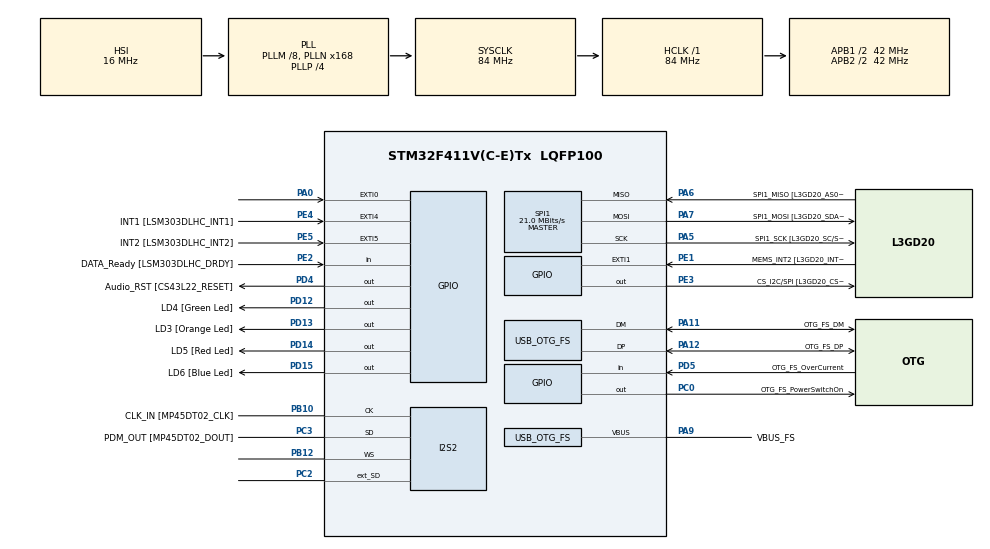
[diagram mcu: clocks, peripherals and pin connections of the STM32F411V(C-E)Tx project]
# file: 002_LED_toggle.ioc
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I2S2.AudioFreq=I2S_AUDIOFREQ_96K
I2S2.ErrorAudioFreq=-0.79 %
I2S2.FullDuplexMode=I2S_FULLDUPLEXMODE_ENABLE
I2S2.Instance=SPI$Index
I2S2.RealAudioFreq=95.238 KHz
I2S2.VirtualMode=I2S_MODE_MASTER
Mcu.Family=STM32F4
Mcu.Name=STM32F411V(C-E)Tx
Mcu.Package=LQFP100
NVIC.OTG_FS_IRQn=true\:0\:0\:false\:false\:true\:true\:true\:true
NVIC.PriorityGroup=NVIC_PRIORITYGROUP_4
NVIC.TIM2_IRQn=true\:15\:0\:false\:false\:true\:false\:true\:true
NVIC.TimeBase=TIM2_IRQn
NVIC.TimeBaseIP=TIM2
PA0-WKUP.GPIO_ModeDefaultEXTI=GPIO_MODE_EVT_RISING
PA0-WKUP.Signal=GPXTI0
PA10.GPIO_Label=OTG_FS_ID
PA10.Signal=USB_OTG_FS_ID
PA11.GPIO_Label=OTG_FS_DM
PA11.Mode=Host_Only
PA11.Signal=USB_OTG_FS_DM
PA12.GPIO_Label=OTG_FS_DP
PA12.Mode=Host_Only
PA12.Signal=USB_OTG_FS_DP
PA13.GPIO_Label=SWDIO
PA13.Mode=JTAG_5_pins
PA13.Signal=SYS_JTMS-SWDIO
PA14.GPIO_Label=SWCLK
PA14.Mode=JTAG_5_pins
PA14.Signal=SYS_JTCK-SWCLK
PA15.Mode=JTAG_5_pins
PA15.Signal=SYS_JTDI
PA4.GPIO_Label=I2S3_WS [CS43L22_LRCK]
PA4.GPIO_Mode=GPIO_MODE_AF_PP
PA4.GPIO_PuPd=GPIO_NOPULL
PA4.GPIO_Speed=GPIO_SPEED_FREQ_LOW
PA4.Signal=I2S3_WS
PA5.GPIO_Label=SPI1_SCK [L3GD20_SC/SPC]
PA5.Mode=Full_Duplex_Master
PA5.Signal=SPI1_SCK
PA6.GPIO_Label=SPI1_MISO [L3GD20_AS0/SDO]
PA6.Mode=Full_Duplex_Master
PA6.Signal=SPI1_MISO
PA7.GPIO_Label=SPI1_MOSI [L3GD20_SDA/SDI/SDO]
PA7.Mode=Full_Duplex_Master
PA7.Signal=SPI1_MOSI
PA9.GPIO_Label=VBUS_FS
PA9.Mode=Activate_VBUS
PA9.Signal=USB_OTG_FS_VBUS
PB10.GPIO_Label=CLK_IN [MP45DT02_CLK]
PB10.Mode=Full_Duplex_Master
PB10.Signal=I2S2_CK
PB12.Mode=Full_Duplex_Master
PB12.Signal=I2S2_WS
PB3.GPIO_Label=SWO
PB3.Mode=JTAG_5_pins
PB3.Signal=SYS_JTDO-SWO
PB4.Mode=JTAG_5_pins
PB4.Signal=SYS_JTRST
PB6.GPIO_Label=Audio_SCL [CS43L22_SCL]
PB6.GPIO_Mode=GPIO_MODE_AF_OD
PB6.GPIO_Pu=GPIO_PULLUP
PB6.GPIO_PuPd=GPIO_NOPULL
PB6.GPIO_Speed=GPIO_SPEED_FREQ_LOW
PB6.Signal=I2C1_SCL
PB9.GPIO_Label=Audio_SDA [CS43L22_SDA]
PB9.GPIO_Mode=GPIO_MODE_AF_OD
PB9.GPIO_Pu=GPIO_PULLUP
PB9.GPIO_PuPd=GPIO_NOPULL
PB9.GPIO_Speed=GPIO_SPEED_FREQ_LOW
PB9.Signal=I2C1_SDA
PC0.GPIO_Label=OTG_FS_PowerSwitchOn
PC0.PinState=GPIO_PIN_SET
PC0.Signal=GPIO_Output
PC10.GPIO_Label=I2S3_SCK [CS43L22_SCLK]
PC10.GPIO_Mode=GPIO_MODE_AF_PP
PC10.GPIO_PuPd=GPIO_NOPULL
PC10.GPIO_Speed=GPIO_SPEED_FREQ_LOW
PC10.Signal=I2S3_CK
PC12.GPIO_Label=I2S3_SD [CS43L22_SDIN]
PC12.GPIO_Mode=GPIO_MODE_AF_PP
PC12.GPIO_PuPd=GPIO_NOPULL
PC12.GPIO_Speed=GPIO_SPEED_FREQ_LOW
PC12.Signal=I2S3_SD
PC14-OSC32_IN.GPIO_Label=PC14-OSC32_IN
PC14-OSC32_IN.Signal=RCC_OSC32_IN
PC15-OSC32_OUT.GPIO_Label=PC15-OSC32_OUT
PC15-OSC32_OUT.Signal=RCC_OSC32_OUT
PC2.Mode=Full_Duplex_Master
PC2.Signal=I2S2_ext_SD
PC3.GPIO_Label=PDM_OUT [MP45DT02_DOUT]
PC3.Mode=Full_Duplex_Master
PC3.Signal=I2S2_SD
PC7.GPIO_Label=I2S3_MCK [CS43L22_MCLK]
PC7.GPIO_Mode=GPIO_MODE_AF_PP
PC7.GPIO_PuPd=GPIO_NOPULL
PC7.GPIO_Speed=GPIO_SPEED_FREQ_LOW
PC7.Signal=I2S3_MCK
PD12.GPIO_Label=LD4 [Green Led]
PD12.GPIO_PuPd=GPIO_NOPULL
PD12.GPIO_Speed=GPIO_SPEED_FREQ_LOW
PD12.Signal=GPIO_Output
PD13.GPIO_Label=LD3 [Orange Led]
PD13.GPIO_PuPd=GPIO_NOPULL
PD13.GPIO_Speed=GPIO_SPEED_FREQ_LOW
PD13.Signal=GPIO_Output
PD14.GPIO_Label=LD5 [Red Led]
PD14.GPIO_PuPd=GPIO_NOPULL
PD14.GPIO_Speed=GPIO_SPEED_FREQ_LOW
PD14.Signal=GPIO_Output
PD15.GPIO_Label=LD6 [Blue Led]
PD15.GPIO_PuPd=GPIO_NOPULL
PD15.GPIO_Speed=GPIO_SPEED_FREQ_LOW
PD15.Signal=GPIO_Output
PD4.GPIO_Label=Audio_RST [CS43L22_RESET]
PD4.Signal=GPIO_Output
PD5.GPIO_Label=OTG_FS_OverCurrent
PD5.Signal=GPIO_Input
PE1.GPIO_Label=MEMS_INT2 [L3GD20_INT2]
PE1.GPIO_ModeDefaultEXTI=GPIO_MODE_EVT_RISING
PE1.Signal=GPXTI1
PE2.GPIO_Label=DATA_Ready [LSM303DLHC_DRDY]
PE2.Signal=GPIO_Input
PE3.GPIO_Label=CS_I2C/SPI [L3GD20_CS_I2C/SPI]
PE3.Signal=GPIO_Output
PE4.GPIO_Label=INT1 [LSM303DLHC_INT1]
PE4.GPIO_ModeDefaultEXTI=GPIO_MODE_EVT_RISING
PE4.Signal=GPXTI4
PE5.GPIO_Label=INT2 [LSM303DLHC_INT2]
PE5.GPIO_ModeDefaultEXTI=GPIO_MODE_EVT_RISING
PE5.Signal=GPXTI5
PH0\ -\ OSC_IN.GPIO_Label=PH0-OSC_IN
PH0\ -\ OSC_IN.Signal=RCC_OSC_IN
PH1\ -\ OSC_OUT.GPIO_Label=PH1-OSC_OUT
PH1\ -\ OSC_OUT.Signal=RCC_OSC_OUT
ProjectManager.HeapSize=0x200
ProjectManager.StackSize=0x400
ProjectManager.TargetToolchain=STM32CubeIDE
RCC.48MHZClocksFreq_Value=48000000
RCC.AHBFreq_Value=84000000
RCC.APB1CLKDivider=RCC_HCLK_DIV2
RCC.APB1Freq_Value=42000000
RCC.APB1TimFreq_Value=84000000
RCC.APB2CLKDivider=RCC_HCLK_DIV2
RCC.APB2Freq_Value=42000000
RCC.APB2TimFreq_Value=84000000
RCC.CortexFreq_Value=84000000
RCC.HCLKFreq_Value=84000000
RCC.HSE_VALUE=8000000
RCC.HSI_VALUE=16000000
RCC.LSE_VALUE=32768
RCC.PLLI2SM=8
RCC.PLLM=8
RCC.PLLN=168
RCC.PLLP=RCC_PLLP_DIV4
RCC.PLLQ=7
RCC.PLLSource=RCC_PLLSOURCE_HSI
RCC.PLLSourceVirtualString=RCC_PLLSOURCE_HSI
RCC.SYSCLKFreq_VALUE=84000000
RCC.SYSCLKSource=RCC_SYSCLKSOURCE_PLLCLK
RCC.VCOOutputFreq_Value=336000000
SPI1.BaudRatePrescaler=SPI_BAUDRATEPRESCALER_2
SPI1.CalculateBaudRate=21.0 MBits/s
SPI1.Direction=SPI_DIRECTION_2LINES
SPI1.Mode=SPI_MODE_MASTER
SPI1.VirtualType=VM_MASTER
USB_HOST.BSP.number=1
USB_HOST.USBH_HandleTypeDef=hUsbHostFS
USB_HOST.VirtualModeFS=Cdc
USB_HOST0.BSP.STBoard=false
USB_HOST0.BSP.api=Unknown
USB_HOST0.BSP.instance=PC0
USB_HOST0.BSP.ip=GPIO
USB_HOST0.BSP.mode=Output
USB_HOST0.BSP.name=Drive_VBUS_FS
USB_HOST0.BSP.solution=PC0
USB_OTG_FS.VirtualMode=Host_Only
USB_OTG_FS.phy_itface=HCD_PHY_EMBEDDED
VP_SYS_VS_tim2.Mode=TIM2
VP_USB_HOST_VS_USB_HOST_CDC_FS.Mode=CDC_FS
board=STM32F411E-DISCO

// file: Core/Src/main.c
/* USER CODE BEGIN Header */
/**
  ******************************************************************************
  * @file           : main.c
  * @brief          : Main program body
  ******************************************************************************
  * @attention
  *
  * Copyright (c) 2023 STMicroelectronics.
  * All rights reserved.
  *
  * This software is licensed under terms that can be found in the LICENSE file
  * in the root directory of this software component.
  * If no LICENSE file comes with this software, it is provided AS-IS.
  *
  ******************************************************************************
  */
/* USER CODE END Header */
#include "main.h"
#include "usb_host.h"

/* USER CODE BEGIN Includes */
#include "FreeRTOS.h"
#include "task.h"
#include <stdio.h>
/* USER CODE END Includes */

I2S_HandleTypeDef hi2s2;

SPI_HandleTypeDef hspi1;

/* USER CODE BEGIN PV */
#define DWT_CTRL (*(volatile uint32_t*)0xE0001000)
/* USER CODE END PV */

void SystemClock_Config(void);
static void MX_GPIO_Init(void);
static void MX_I2S2_Init(void);
static void MX_SPI1_Init(void);
void MX_USB_HOST_Process(void);

/* USER CODE BEGIN PFP */
static void led_green_handler(void*);
static void led_orange_handler(void*);
static void led_red_handler(void*);
static void led_blue_handler(void*);

extern void SEGGER_UART_init(uint32_t);
/* USER CODE END PFP */

int main(void)
{
  /* USER CODE BEGIN 1 */
	TaskHandle_t task1_handler;
	TaskHandle_t task2_handler;
	TaskHandle_t task3_handler;
	TaskHandle_t task4_handler;

	BaseType_t status;
  /* USER CODE END 1 */

  /* MCU Configuration--------------------------------------------------------*/

  /* Reset of all peripherals, Initializes the Flash interface and the Systick. */
  HAL_Init();

  /* Configure the system clock */
  SystemClock_Config();

  /* Initialize all configured peripherals */
  MX_GPIO_Init();
  MX_I2S2_Init();
  MX_SPI1_Init();
  MX_USB_HOST_Init();
  /* USER CODE BEGIN 2 */
SEGGER_UART_init(50000);
DWT_CTRL |= (1 << 0);
SEGGER_SYSVIEW_Conf();
//SEGGER_SYSVIEW_Start();
 /* xTaskcreate parameters : *function API name *task_name *Word_count *variable_name_passed_to_create_task *priority *handler_name)*/
  status = xTaskCreate(led_green_handler, "LED_green_task",200,NULL, 2, &task1_handler);
configASSERT(status == pdPASS);
status = xTaskCreate(led_orange_handler, "LED_orange_task",200,NULL, 2, &task2_handler);
configASSERT(status == pdPASS);
status = xTaskCreate(led_red_handler, "LED_red_task",200,NULL, 2, &task3_handler);
configASSERT(status == pdPASS);
status = xTaskCreate(led_blue_handler, "LED_blue_task",200,NULL, 2, &task4_handler);
configASSERT(status == pdPASS);

vTaskStartScheduler();
  /* USER CODE END 2 */

  /* Infinite loop */
  while (1)
  {
    MX_USB_HOST_Process();

  }
}

void SystemClock_Config(void)
{
  RCC_OscInitTypeDef RCC_OscInitStruct = {0};
  RCC_ClkInitTypeDef RCC_ClkInitStruct = {0};

  /** Configure the main internal regulator output voltage
  */
  __HAL_RCC_PWR_CLK_ENABLE();
  __HAL_PWR_VOLTAGESCALING_CONFIG(PWR_REGULATOR_VOLTAGE_SCALE1);

  /** Initializes the RCC Oscillators according to the specified parameters
  * in the RCC_OscInitTypeDef structure.
  */
  RCC_OscInitStruct.OscillatorType = RCC_OSCILLATORTYPE_HSI;
  RCC_OscInitStruct.HSIState = RCC_HSI_ON;
  RCC_OscInitStruct.HSICalibrationValue = RCC_HSICALIBRATION_DEFAULT;
  RCC_OscInitStruct.PLL.PLLState = RCC_PLL_ON;
  RCC_OscInitStruct.PLL.PLLSource = RCC_PLLSOURCE_HSI;
  RCC_OscInitStruct.PLL.PLLM = 8;
  RCC_OscInitStruct.PLL.PLLN = 168;
  RCC_OscInitStruct.PLL.PLLP = RCC_PLLP_DIV4;
  RCC_OscInitStruct.PLL.PLLQ = 7;
  if (HAL_RCC_OscConfig(&RCC_OscInitStruct) != HAL_OK)
  {
    Error_Handler();
  }

  /** Initializes the CPU, AHB and APB buses clocks
  */
  RCC_ClkInitStruct.ClockType = RCC_CLOCKTYPE_HCLK|RCC_CLOCKTYPE_SYSCLK
                              |RCC_CLOCKTYPE_PCLK1|RCC_CLOCKTYPE_PCLK2;
  RCC_ClkInitStruct.SYSCLKSource = RCC_SYSCLKSOURCE_PLLCLK;
  RCC_ClkInitStruct.AHBCLKDivider = RCC_SYSCLK_DIV1;
  RCC_ClkInitStruct.APB1CLKDivider = RCC_HCLK_DIV2;
  RCC_ClkInitStruct.APB2CLKDivider = RCC_HCLK_DIV2;

  if (HAL_RCC_ClockConfig(&RCC_ClkInitStruct, FLASH_LATENCY_2) != HAL_OK)
  {
    Error_Handler();
  }
}

static void MX_I2S2_Init(void)
{

  hi2s2.Instance = SPI2;
  hi2s2.Init.Mode = I2S_MODE_MASTER_TX;
  hi2s2.Init.Standard = I2S_STANDARD_PHILIPS;
  hi2s2.Init.DataFormat = I2S_DATAFORMAT_16B;
  hi2s2.Init.MCLKOutput = I2S_MCLKOUTPUT_DISABLE;
  hi2s2.Init.AudioFreq = I2S_AUDIOFREQ_96K;
  hi2s2.Init.CPOL = I2S_CPOL_LOW;
  hi2s2.Init.ClockSource = I2S_CLOCK_PLL;
  hi2s2.Init.FullDuplexMode = I2S_FULLDUPLEXMODE_ENABLE;
  if (HAL_I2S_Init(&hi2s2) != HAL_OK)
  {
    Error_Handler();
  }

}

static void MX_SPI1_Init(void)
{

  /* SPI1 parameter configuration*/
  hspi1.Instance = SPI1;
  hspi1.Init.Mode = SPI_MODE_MASTER;
  hspi1.Init.Direction = SPI_DIRECTION_2LINES;
  hspi1.Init.DataSize = SPI_DATASIZE_8BIT;
  hspi1.Init.CLKPolarity = SPI_POLARITY_LOW;
  hspi1.Init.CLKPhase = SPI_PHASE_1EDGE;
  hspi1.Init.NSS = SPI_NSS_SOFT;
  hspi1.Init.BaudRatePrescaler = SPI_BAUDRATEPRESCALER_2;
  hspi1.Init.FirstBit = SPI_FIRSTBIT_MSB;
  hspi1.Init.TIMode = SPI_TIMODE_DISABLE;
  hspi1.Init.CRCCalculation = SPI_CRCCALCULATION_DISABLE;
  hspi1.Init.CRCPolynomial = 10;
  if (HAL_SPI_Init(&hspi1) != HAL_OK)
  {
    Error_Handler();
  }

}

static void MX_GPIO_Init(void)
{
  GPIO_InitTypeDef GPIO_InitStruct = {0};

  /* GPIO Ports Clock Enable */
  __HAL_RCC_GPIOE_CLK_ENABLE();
  __HAL_RCC_GPIOC_CLK_ENABLE();
  __HAL_RCC_GPIOH_CLK_ENABLE();
  __HAL_RCC_GPIOA_CLK_ENABLE();
  __HAL_RCC_GPIOB_CLK_ENABLE();
  __HAL_RCC_GPIOD_CLK_ENABLE();

  /*Configure GPIO pin Output Level */
  HAL_GPIO_WritePin(CS_I2C_SPI_GPIO_Port, CS_I2C_SPI_Pin, GPIO_PIN_RESET);

  /*Configure GPIO pin Output Level */
  HAL_GPIO_WritePin(OTG_FS_PowerSwitchOn_GPIO_Port, OTG_FS_PowerSwitchOn_Pin, GPIO_PIN_SET);

  /*Configure GPIO pin Output Level */
  HAL_GPIO_WritePin(GPIOD, LD4_Pin|LD3_Pin|LD5_Pin|LD6_Pin
                          |Audio_RST_Pin, GPIO_PIN_RESET);

  /*Configure GPIO pin : DATA_Ready_Pin */
  GPIO_InitStruct.Pin = DATA_Ready_Pin;
  GPIO_InitStruct.Mode = GPIO_MODE_INPUT;
  GPIO_InitStruct.Pull = GPIO_NOPULL;
  HAL_GPIO_Init(DATA_Ready_GPIO_Port, &GPIO_InitStruct);

  /*Configure GPIO pin : CS_I2C_SPI_Pin */
  GPIO_InitStruct.Pin = CS_I2C_SPI_Pin;
  GPIO_InitStruct.Mode = GPIO_MODE_OUTPUT_PP;
  GPIO_InitStruct.Pull = GPIO_NOPULL;
  GPIO_InitStruct.Speed = GPIO_SPEED_FREQ_LOW;
  HAL_GPIO_Init(CS_I2C_SPI_GPIO_Port, &GPIO_InitStruct);

  /*Configure GPIO pins : INT1_Pin INT2_Pin MEMS_INT2_Pin */
  GPIO_InitStruct.Pin = INT1_Pin|INT2_Pin|MEMS_INT2_Pin;
  GPIO_InitStruct.Mode = GPIO_MODE_EVT_RISING;
  GPIO_InitStruct.Pull = GPIO_NOPULL;
  HAL_GPIO_Init(GPIOE, &GPIO_InitStruct);

  /*Configure GPIO pin : OTG_FS_PowerSwitchOn_Pin */
  GPIO_InitStruct.Pin = OTG_FS_PowerSwitchOn_Pin;
  GPIO_InitStruct.Mode = GPIO_MODE_OUTPUT_PP;
  GPIO_InitStruct.Pull = GPIO_NOPULL;
  GPIO_InitStruct.Speed = GPIO_SPEED_FREQ_LOW;
  HAL_GPIO_Init(OTG_FS_PowerSwitchOn_GPIO_Port, &GPIO_InitStruct);

  /*Configure GPIO pin : PA0 */
  GPIO_InitStruct.Pin = GPIO_PIN_0;
  GPIO_InitStruct.Mode = GPIO_MODE_EVT_RISING;
  GPIO_InitStruct.Pull = GPIO_NOPULL;
  HAL_GPIO_Init(GPIOA, &GPIO_InitStruct);

  /*Configure GPIO pin : I2S3_WS_Pin */
  GPIO_InitStruct.Pin = I2S3_WS_Pin;
  GPIO_InitStruct.Mode = GPIO_MODE_AF_PP;
  GPIO_InitStruct.Pull = GPIO_NOPULL;
  GPIO_InitStruct.Speed = GPIO_SPEED_FREQ_LOW;
  GPIO_InitStruct.Alternate = GPIO_AF6_SPI3;
  HAL_GPIO_Init(I2S3_WS_GPIO_Port, &GPIO_InitStruct);

  /*Configure GPIO pins : LD4_Pin LD3_Pin LD5_Pin LD6_Pin
                           Audio_RST_Pin */
  GPIO_InitStruct.Pin = LD4_Pin|LD3_Pin|LD5_Pin|LD6_Pin
                          |Audio_RST_Pin;
  GPIO_InitStruct.Mode = GPIO_MODE_OUTPUT_PP;
  GPIO_InitStruct.Pull = GPIO_NOPULL;
  GPIO_InitStruct.Speed = GPIO_SPEED_FREQ_LOW;
  HAL_GPIO_Init(GPIOD, &GPIO_InitStruct);

  /*Configure GPIO pins : I2S3_MCK_Pin I2S3_SCK_Pin I2S3_SD_Pin */
  GPIO_InitStruct.Pin = I2S3_MCK_Pin|I2S3_SCK_Pin|I2S3_SD_Pin;
  GPIO_InitStruct.Mode = GPIO_MODE_AF_PP;
  GPIO_InitStruct.Pull = GPIO_NOPULL;
  GPIO_InitStruct.Speed = GPIO_SPEED_FREQ_LOW;
  GPIO_InitStruct.Alternate = GPIO_AF6_SPI3;
  HAL_GPIO_Init(GPIOC, &GPIO_InitStruct);

  /*Configure GPIO pin : OTG_FS_OverCurrent_Pin */
  GPIO_InitStruct.Pin = OTG_FS_OverCurrent_Pin;
  GPIO_InitStruct.Mode = GPIO_MODE_INPUT;
  GPIO_InitStruct.Pull = GPIO_NOPULL;
  HAL_GPIO_Init(OTG_FS_OverCurrent_GPIO_Port, &GPIO_InitStruct);

  /*Configure GPIO pins : Audio_SCL_Pin Audio_SDA_Pin */
  GPIO_InitStruct.Pin = Audio_SCL_Pin|Audio_SDA_Pin;
  GPIO_InitStruct.Mode = GPIO_MODE_AF_OD;
  GPIO_InitStruct.Pull = GPIO_PULLUP;
  GPIO_InitStruct.Speed = GPIO_SPEED_FREQ_LOW;
  GPIO_InitStruct.Alternate = GPIO_AF4_I2C1;
  HAL_GPIO_Init(GPIOB, &GPIO_InitStruct);

}

/* USER CODE BEGIN 4 */
static void led_green_handler(void* parameters)
{
  while(1)
  {
    //SEGGER_Sysview_printfTarget("Toggling green LED");
    HAL_GPIO_TogglePin(GPIOD, LED_GREEN_PIN);
    HAL_Delay(1000);
  }
}
static void led_orange_handler(void* parameters)
{
  while(1)
  {
    //SEGGER_Sysview_printfTarget("Toggling green LED");
    HAL_GPIO_TogglePin(GPIOD, LED_ORANGE_PIN);
    HAL_Delay(3000);
  }
}

static void led_red_handler(void* parameters)
{
  while(1)
  {
    //SEGGER_Sysview_printfTarget("Toggling green LED");
    HAL_GPIO_TogglePin(GPIOD, LED_RED_PIN);
    HAL_Delay(2000);
  }
}
static void led_blue_handler(void* parameters)
{
  while(1)
  {
    //SEGGER_Sysview_printfTarget("Toggling green LED");
    HAL_GPIO_TogglePin(GPIOD, LED_BLUE_PIN);
    HAL_Delay(500);
  }
}
/* USER CODE END 4 */

void HAL_TIM_PeriodElapsedCallback(TIM_HandleTypeDef *htim)
{
  if (htim->Instance == TIM2) {
    HAL_IncTick();
  }
}

void Error_Handler(void)
{
  __disable_irq();
  while (1)
  {
  }
}
